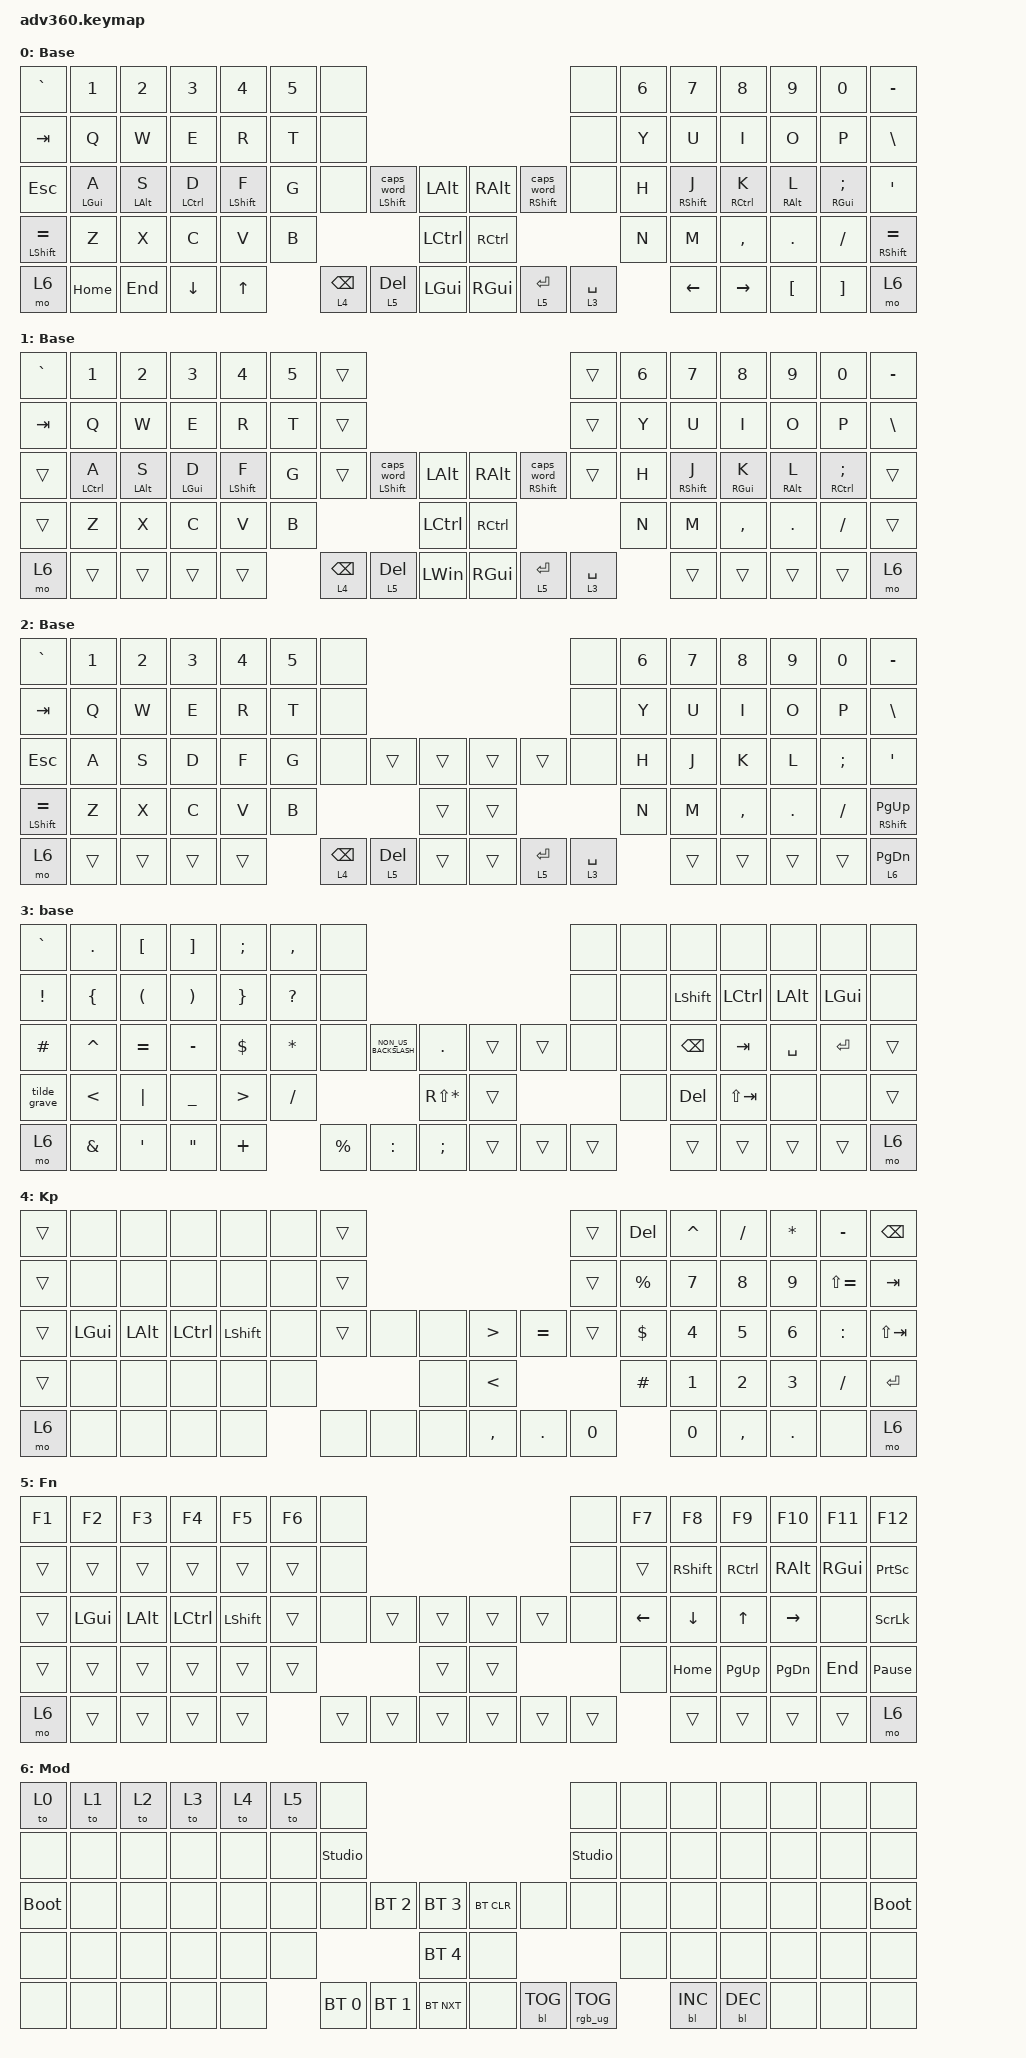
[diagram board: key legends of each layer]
#include <dt-bindings/zmk/stp.h>
#include <behaviors.dtsi>
#include <dt-bindings/zmk/backlight.h>
#include <dt-bindings/zmk/bt.h>
#include <dt-bindings/zmk/keys.h>
#include <dt-bindings/zmk/rgb.h>

/ {
    behaviors {
        #include "macros.dtsi"
      #include "version.dtsi"

        hm: homerow_mods {
            compatible = "zmk,behavior-hold-tap";
            label = "HOMEROW_MODS";
            #binding-cells = <2>;
            tapping-term-ms = <200>;
            quick_tap_ms = <175>;
            flavor = "tap-preferred";
            bindings = <&kp>, <&kp>;
        };

        space_layer_access: space_layer_access {
            compatible = "zmk,behavior-hold-tap";
            label = "SPACE_LAYER_ACCESS";
            bindings = <&mo>, <&kp>;

            #binding-cells = <2>;
            tapping-term-ms = <200>;
            quick-tap-ms = <150>;
            flavor = "balanced";
        };

        thumb_layer_access: thumb_layer_access {
            compatible = "zmk,behavior-hold-tap";
            label = "THUMB_LAYER_ACCESS";
            bindings = <&mo>, <&kp>;

            #binding-cells = <2>;
            tapping-term-ms = <200>;
            quick-tap-ms = <300>;
            flavor = "balanced";
        };

        hrm_left_index: hrm_left_index {
            compatible = "zmk,behavior-hold-tap";
            label = "HRM_LEFT_INDEX";
            bindings = <&kp>, <&kp>;

            #binding-cells = <2>;
            tapping-term-ms = <210>;
            quick-tap-ms = <300>;
            require-prior-idle-ms = <150>;
            flavor = "tap-preferred";
            hold-trigger-on-release;
            hold-trigger-key-positions = <35 36 52 67 66 65 37 38 53 68 69 70 7 8 9 10 11 12 13 21 22 23 24 25 26 27 38 39 40 41 42 43 44 45 54 55 56 57 58 59 71 72 73 74 75>;
        };

        hrm_left_mid: hrm_left_mid {
            compatible = "zmk,behavior-hold-tap";
            label = "HRM_LEFT_MID";
            bindings = <&kp>, <&kp>;

            #binding-cells = <2>;
            tapping-term-ms = <210>;
            quick-tap-ms = <300>;
            require-prior-idle-ms = <150>;
            flavor = "tap-preferred";
            hold-trigger-on-release;
            hold-trigger-key-positions = <35 36 52 65 66 67 37 38 53 68 69 70 12 13 21 22 23 24 25 26 27 38 39 40 41 42 43 44 45 54 55 56 57 58 59 69 70 71 72 73 74 75 7 8 9 10 11 12 29>;
        };

        hrm_left_pink: hrm_left_pink {
            compatible = "zmk,behavior-hold-tap";
            label = "HRM_LEFT_PINK";
            bindings = <&kp>, <&kp>;

            #binding-cells = <2>;
            tapping-term-ms = <260>;
            quick-tap-ms = <300>;
            require-prior-idle-ms = <150>;
            flavor = "tap-preferred";
            hold-trigger-on-release;
            hold-trigger-key-positions = <35 36 52 67 52 65 66 67 37 38 53 68 69 70 7 8 9 10 11 12 13 21 22 23 24 25 26 27 38 39 40 41 42 43 44 45 54 55 56 57 58 59 69 70 71 72 73 74 75>;
        };

        hrm_left_ring: hrm_left_ring {
            compatible = "zmk,behavior-hold-tap";
            label = "HRM_LEFT_RING";
            bindings = <&kp>, <&kp>;

            #binding-cells = <2>;
            tapping-term-ms = <240>;
            quick-tap-ms = <300>;
            require-prior-idle-ms = <150>;
            flavor = "tap-preferred";
            hold-trigger-on-release;
            hold-trigger-key-positions = <7 8 9 10 11 12 13 21 22 23 24 25 26 27 38 39 40 41 42 43 44 45 54 55 56 57 58 59 68 69 70 71 72 73 74 75 35 36 37 38 52 53 65 66 67 68 69 70>;
        };

        hrm_right_index: hrm_right_index {
            compatible = "zmk,behavior-hold-tap";
            label = "HRM_RIGHT_INDEX";
            bindings = <&kp>, <&kp>;

            #binding-cells = <2>;
            tapping-term-ms = <210>;
            quick-tap-ms = <300>;
            require-prior-idle-ms = <150>;
            flavor = "tap-preferred";
            hold-trigger-on-release;
            hold-trigger-key-positions = <0 1 2 3 4 5 6 14 15 16 17 18 19 20 28 29 30 31 32 33 34 35 36 37 38 46 47 48 49 50 51 52 53 60 61 62 63 64 65 66 67 68 69 70>;
        };

        hrm_right_mid: hrm_right_mid {
            compatible = "zmk,behavior-hold-tap";
            label = "HRM_RIGHT_MID";
            bindings = <&kp>, <&kp>;

            #binding-cells = <2>;
            tapping-term-ms = <210>;
            quick-tap-ms = <300>;
            require-prior-idle-ms = <150>;
            flavor = "tap-preferred";
            hold-trigger-on-release;
            hold-trigger-key-positions = <35 36 37 38 52 53 65 66 69 70 67 68 0 1 2 3 4 5 6 14 15 16 17 18 19 20 28 29 30 31 32 33 34 35 46 47 48 49 50 51 60 61 62 63 64 65 66>;
        };

        hrm_right_pink: hrm_right_pink {
            compatible = "zmk,behavior-hold-tap";
            label = "HRM_RIGHT_PINK";
            bindings = <&kp>, <&kp>;

            #binding-cells = <2>;
            tapping-term-ms = <260>;
            quick-tap-ms = <300>;
            require-prior-idle-ms = <150>;
            flavor = "tap-preferred";
            hold-trigger-on-release;
            hold-trigger-key-positions = <0 1 2 3 4 5 6 14 15 16 17 18 19 20 28 29 30 31 32 33 34 35 36 46 47 48 49 50 51 52 60 61 62 63 64 65 66 67 37 38 53 68 69 70>;
        };

        hrm_right_ring: hrm_right_ring {
            compatible = "zmk,behavior-hold-tap";
            label = "HRM_RIGHT_RING";
            bindings = <&kp>, <&kp>;

            #binding-cells = <2>;
            tapping-term-ms = <240>;
            quick-tap-ms = <300>;
            require-prior-idle-ms = <150>;
            flavor = "tap-preferred";
            hold-trigger-on-release;
            hold-trigger-key-positions = <0 1 2 3 4 5 6 14 15 16 17 18 19 20 28 29 30 31 32 33 34 35 36 46 47 48 49 50 51 52 60 61 62 63 64 65 66 67 37 38 53 68 69 70>;
        };

        caps_word_tap: caps_word_tap {
            compatible = "zmk,behavior-hold-tap";
            label = "CAPS_WORD_TAP";
            bindings = <&kp>, <&caps_word>;

            #binding-cells = <2>;
            tapping-term-ms = <200>;
        };

        tilde_grave: tilde_grave {
            compatible = "zmk,behavior-mod-morph";
            label = "TILDE_GRAVE";
            bindings = <&kp TILDE>, <&kp GRAVE>;

            #binding-cells = <0>;
            mods = <(MOD_RSFT|MOD_LSFT)>;
        };
    };

    combos {
        compatible = "zmk,combos";

        caps_word {
            bindings = <&caps_word>;
            key-positions = <32 41>;
        };

        caps_lock {
            bindings = <&kp CAPSLOCK>;
            key-positions = <46 59>;
        };

        caps_lock_thumbs {
            bindings = <&kp CAPSLOCK>;
            key-positions = <35 38>;
        };
    };

    keymap {
        compatible = "zmk,keymap";

        hrm {
            display-name = "Base";
            bindings = <
&kp GRAVE        &kp N1                 &kp N2                     &kp N3                        &kp N4                        &kp N5  &none                                                                                                                                 &none                        &kp N6  &kp N7                          &kp N8                          &kp N9                       &kp N0                               &kp MINUS
&kp TAB          &kp Q                  &kp W                      &kp E                         &kp R                         &kp T   &none                                                                                                                                 &none                        &kp Y   &kp U                           &kp I                           &kp O                        &kp P                                &kp BSLH
&kp ESCAPE       &hrm_left_pink LGUI A  &hrm_left_ring LEFT_ALT S  &hrm_left_mid LEFT_CONTROL D  &hrm_left_index LEFT_SHIFT F  &kp G   &none                            &caps_word_tap LEFT_SHIFT 0   &kp LEFT_ALT          &kp RIGHT_ALT      &caps_word_tap RIGHT_SHIFT 0  &none                        &kp H   &hrm_right_index RIGHT_SHIFT J  &hrm_right_mid RIGHT_CONTROL K  &hrm_right_ring RIGHT_ALT L  &hrm_right_pink RIGHT_GUI SEMICOLON  &kp SINGLE_QUOTE
&mt LSHFT EQUAL  &kp Z                  &kp X                      &kp C                         &kp V                         &kp B                                                                  &kp LEFT_CONTROL      &kp RIGHT_CONTROL                                                             &kp N   &kp M                           &kp COMMA                       &kp DOT                      &kp FSLH                             &mt RSHFT EQUAL
&mo 6            &kp HOME               &kp END                    &kp DOWN_ARROW                &kp UP_ARROW                          &thumb_layer_access 4 BACKSPACE  &thumb_layer_access 5 DELETE  &kp LEFT_GUI          &kp RIGHT_GUI      &thumb_layer_access 5 ENTER   &space_layer_access 3 SPACE          &kp LEFT_ARROW                  &kp RIGHT_ARROW                 &kp LEFT_BRACKET             &kp RIGHT_BRACKET                    &mo 6
            >;
        };

        hrm_mac {
            display-name = "Base";
            bindings = <
&kp GRAVE  &kp N1                         &kp N2                     &kp N3                    &kp N4                        &kp N5  &trans                                                                                                                                &trans                       &kp N6  &kp N7                          &kp N8                      &kp N9                       &kp N0                                   &kp MINUS
&kp TAB    &kp Q                          &kp W                      &kp E                     &kp R                         &kp T   &trans                                                                                                                                &trans                       &kp Y   &kp U                           &kp I                       &kp O                        &kp P                                    &kp BSLH
&trans     &hrm_left_pink LEFT_CONTROL A  &hrm_left_ring LEFT_ALT S  &hrm_left_mid LEFT_GUI D  &hrm_left_index LEFT_SHIFT F  &kp G   &trans                           &caps_word_tap LEFT_SHIFT 0   &kp LEFT_ALT          &kp RIGHT_ALT      &caps_word_tap RIGHT_SHIFT 0  &trans                       &kp H   &hrm_right_index RIGHT_SHIFT J  &hrm_right_mid RIGHT_GUI K  &hrm_right_ring RIGHT_ALT L  &hrm_right_pink RIGHT_CONTROL SEMICOLON  &trans
&trans     &kp Z                          &kp X                      &kp C                     &kp V                         &kp B                                                                  &kp LEFT_CONTROL      &kp RIGHT_CONTROL                                                             &kp N   &kp M                           &kp COMMA                   &kp DOT                      &kp FSLH                                 &trans
&mo 6      &trans                         &trans                     &trans                    &trans                                &thumb_layer_access 4 BACKSPACE  &thumb_layer_access 5 DELETE  &kp LEFT_WIN          &kp RIGHT_GUI      &thumb_layer_access 5 ENTER   &space_layer_access 3 SPACE          &trans                          &trans                      &trans                       &trans                                   &mo 6
            >;
        };

        typing {
            display-name = "Base";
            bindings = <
&kp GRAVE        &kp N1  &kp N2  &kp N3  &kp N4  &kp N5  &none                                                                                                           &none                        &kp N6  &kp N7  &kp N8     &kp N9   &kp N0         &kp MINUS
&kp TAB          &kp Q   &kp W   &kp E   &kp R   &kp T   &none                                                                                                           &none                        &kp Y   &kp U   &kp I      &kp O    &kp P          &kp BSLH
&kp ESC          &kp A   &kp S   &kp D   &kp F   &kp G   &none                            &trans                        &trans      &trans  &trans                       &none                        &kp H   &kp J   &kp K      &kp L    &kp SEMICOLON  &kp SQT
&mt LSHFT EQUAL  &kp Z   &kp X   &kp C   &kp V   &kp B                                                                  &trans      &trans                                                            &kp N   &kp M   &kp COMMA  &kp DOT  &kp FSLH       &mt RSHFT PAGE_UP
&mo 6            &trans  &trans  &trans  &trans          &thumb_layer_access 4 BACKSPACE  &thumb_layer_access 5 DELETE  &trans      &trans  &thumb_layer_access 5 ENTER  &space_layer_access 3 SPACE          &trans  &trans     &trans   &trans         &lt 6 PAGE_DOWN
            >;
        };

        symbols {
            bindings = <
&kp GRAVE        &kp PERIOD      &kp LEFT_BRACKET      &kp RIGHT_BRACKET      &kp SEMICOLON     &kp COMMA     &none                                                                    &none   &none  &none          &none             &none         &none         &none
&kp EXCLAMATION  &kp LEFT_BRACE  &kp LEFT_PARENTHESIS  &kp RIGHT_PARENTHESIS  &kp RIGHT_BRACE   &kp QUESTION  &none                                                                    &none   &none  &kp LSHFT      &kp LEFT_CONTROL  &kp LEFT_ALT  &kp LEFT_GUI  &none
&kp HASH         &kp CARET       &kp EQUAL             &kp MINUS              &kp DOLLAR        &kp ASTERISK  &none        &kp NON_US_BACKSLASH  &kp PERIOD            &trans  &trans  &none   &none  &kp BACKSPACE  &kp TAB           &kp SPACE     &kp ENTER     &trans
&tilde_grave     &kp LESS_THAN   &kp PIPE              &kp UNDERSCORE         &kp GREATER_THAN  &kp SLASH                                        &kp RS(ASTERISK)      &trans                  &none  &kp DEL        &kp LS(TAB)       &none         &none         &trans
&mo 6            &kp AMPERSAND   &kp SINGLE_QUOTE      &kp DOUBLE_QUOTES      &kp PLUS                        &kp PERCENT  &kp COLON             &kp SEMICOLON         &trans  &trans  &trans         &trans         &trans            &trans        &trans        &mo 6
            >;

            label = "base";
        };

        keypad {
            display-name = "Kp";
            bindings = <
&trans  &none     &none         &none             &none      &none  &trans                                           &trans        &kp DELETE   &kp CARET     &kp SLASH     &kp ASTERISK  &kp MINUS      &kp BACKSPACE
&trans  &none     &none         &none             &none      &none  &trans                                           &trans        &kp PERCENT  &kp N7        &kp N8        &kp N9        &kp LS(EQUAL)  &kp TAB
&trans  &kp LGUI  &kp LEFT_ALT  &kp LEFT_CONTROL  &kp LSHFT  &none  &trans  &none  &none      &kp GT     &kp EQUAL   &trans        &kp DOLLAR   &kp N4        &kp N5        &kp N6        &kp COLON      &kp LS(TAB)
&trans  &none     &none         &none             &none      &none                 &none      &kp LT                               &kp HASH     &kp N1        &kp NUMBER_2  &kp N3        &kp SLASH      &kp ENTER
&mo 6   &none     &none         &none             &none             &none   &none  &none      &kp COMMA  &kp PERIOD  &kp NUMBER_0               &kp NUMBER_0  &kp COMMA     &kp PERIOD    &none          &mo 6
            >;
        };

        nav {
            display-name = "Fn";
            bindings = <
&kp F1  &kp F2        &kp F3        &kp F4            &kp F5          &kp F6  &none                                       &none   &kp F7          &kp F8           &kp F9             &kp F10          &kp F11        &kp F12
&trans  &trans        &trans        &trans            &trans          &trans  &none                                       &none   &trans          &kp RIGHT_SHIFT  &kp RIGHT_CONTROL  &kp RIGHT_ALT    &kp RIGHT_GUI  &kp PRINTSCREEN
&trans  &kp LEFT_GUI  &kp LEFT_ALT  &kp LEFT_CONTROL  &kp LEFT_SHIFT  &trans  &none   &trans  &trans      &trans  &trans  &none   &kp LEFT_ARROW  &kp DOWN_ARROW   &kp UP_ARROW       &kp RIGHT_ARROW  &none          &kp SCROLLLOCK
&trans  &trans        &trans        &trans            &trans          &trans                  &trans      &trans                  &none           &kp HOME         &kp PAGE_UP        &kp PAGE_DOWN    &kp END        &kp PAUSE_BREAK
&mo 6   &trans        &trans        &trans            &trans                  &trans  &trans  &trans      &trans  &trans  &trans                  &trans           &trans             &trans           &trans         &mo 6
            >;
        };

        mod {
            display-name = "Mod";
            bindings = <
&to 0        &to 1  &to 2  &to 3  &to 4  &to 5  &none                                                                   &none            &none  &none       &none       &none  &none  &none
&none        &none  &none  &none  &none  &none  &studio_unlock                                                          &studio_unlock   &none  &none       &none       &none  &none  &none
&bootloader  &none  &none  &none  &none  &none  &none           &bt BT_SEL 2  &bt BT_SEL 3      &bt BT_CLR  &none       &none            &none  &none       &none       &none  &none  &bootloader
&none        &none  &none  &none  &none  &none                                &bt BT_SEL 4      &none                                    &none  &none       &none       &none  &none  &none
&none        &none  &none  &none  &none         &bt BT_SEL 0    &bt BT_SEL 1  &bt BT_NXT        &none       &bl BL_TOG  &rgb_ug RGB_TOG         &bl BL_INC  &bl BL_DEC  &none  &none  &none
            >;
        };

        extra1 {
            display-name = "Red";
            status = "reserved";
        };

        extra2 {
            display-name = "Purple";
            status = "reserved";
        };

        extra3 {
            display-name = "Cyan";
            status = "reserved";
        };

        extra4 {
            display-name = "Yellow";
            status = "reserved";
        };
    };
};
